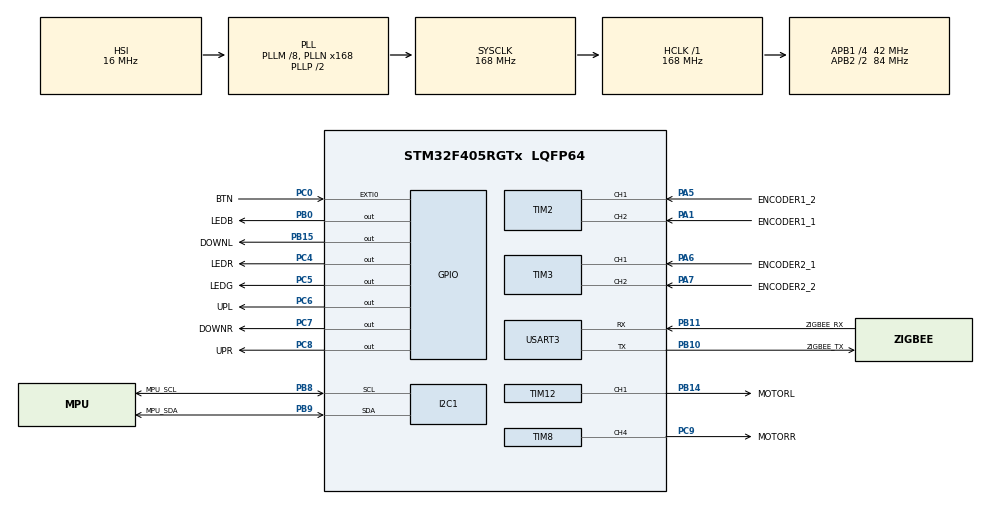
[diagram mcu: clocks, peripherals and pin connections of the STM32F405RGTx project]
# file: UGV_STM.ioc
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I2C1.I2C_Mode=I2C_Standard
Mcu.Family=STM32F4
Mcu.Name=STM32F405RGTx
Mcu.Package=LQFP64
NVIC.EXTI0_IRQn=true\:0\:0\:false\:false\:true\:true\:true
NVIC.PriorityGroup=NVIC_PRIORITYGROUP_4
NVIC.TIM6_DAC_IRQn=true\:0\:0\:false\:false\:true\:true\:true
NVIC.TIM7_IRQn=true\:0\:0\:false\:false\:true\:true\:true
NVIC.USART3_IRQn=true\:0\:0\:false\:false\:true\:true\:true
PA1.GPIO_Label=ENCODER1_1
PA1.GPIO_PuPd=GPIO_PULLUP
PA1.Signal=S_TIM2_CH2
PA13.Mode=Serial_Wire
PA13.Signal=SYS_JTMS-SWDIO
PA14.Mode=Serial_Wire
PA14.Signal=SYS_JTCK-SWCLK
PA5.GPIO_Label=ENCODER1_2
PA5.GPIO_PuPd=GPIO_PULLUP
PA5.Signal=S_TIM2_CH1_ETR
PA6.GPIO_Label=ENCODER2_1
PA6.GPIO_PuPd=GPIO_PULLUP
PA6.Signal=S_TIM3_CH1
PA7.GPIO_Label=ENCODER2_2
PA7.GPIO_PuPd=GPIO_PULLUP
PA7.Signal=S_TIM3_CH2
PB0.GPIO_Label=LEDB
PB0.Signal=GPIO_Output
PB10.GPIO_Label=ZIGBEE_TX
PB10.Mode=Asynchronous
PB10.Signal=USART3_TX
PB11.GPIO_Label=ZIGBEE_RX
PB11.Mode=Asynchronous
PB11.Signal=USART3_RX
PB14.GPIO_Label=MOTORL
PB14.Signal=S_TIM12_CH1
PB15.GPIO_Label=DOWNL
PB15.Signal=GPIO_Output
PB8.GPIO_Label=MPU_SCL
PB8.Mode=I2C
PB8.Signal=I2C1_SCL
PB9.GPIO_Label=MPU_SDA
PB9.Mode=I2C
PB9.Signal=I2C1_SDA
PC0.GPIO_Label=BTN
PC0.GPIO_ModeDefaultEXTI=GPIO_MODE_IT_FALLING
PC0.GPIO_PuPd=GPIO_PULLUP
PC0.Signal=GPXTI0
PC4.GPIO_Label=LEDR
PC4.Signal=GPIO_Output
PC5.GPIO_Label=LEDG
PC5.Signal=GPIO_Output
PC6.GPIO_Label=UPL
PC6.Signal=GPIO_Output
PC7.GPIO_Label=DOWNR
PC7.Signal=GPIO_Output
PC8.GPIO_Label=UPR
PC8.Signal=GPIO_Output
PC9.GPIO_Label=MOTORR
PC9.Signal=S_TIM8_CH4
PH0-OSC_IN.Mode=HSE-External-Oscillator
PH0-OSC_IN.Signal=RCC_OSC_IN
PH1-OSC_OUT.Mode=HSE-External-Oscillator
PH1-OSC_OUT.Signal=RCC_OSC_OUT
ProjectManager.HeapSize=0x200
ProjectManager.StackSize=0x400
ProjectManager.TargetToolchain=STM32CubeIDE
RCC.48MHZClocksFreq_Value=84000000
RCC.AHBFreq_Value=168000000
RCC.APB1CLKDivider=RCC_HCLK_DIV4
RCC.APB1Freq_Value=42000000
RCC.APB1TimFreq_Value=84000000
RCC.APB2CLKDivider=RCC_HCLK_DIV2
RCC.APB2Freq_Value=84000000
RCC.APB2TimFreq_Value=168000000
RCC.CortexFreq_Value=168000000
RCC.HCLKFreq_Value=168000000
RCC.HSE_VALUE=25000000
RCC.HSI_VALUE=16000000
RCC.LSE_VALUE=32768
RCC.PLLM=8
RCC.PLLN=168
RCC.SYSCLKFreq_VALUE=168000000
RCC.SYSCLKSource=RCC_SYSCLKSOURCE_PLLCLK
RCC.VCOOutputFreq_Value=336000000
SH.S_TIM12_CH1.0=TIM12_CH1,PWM Generation1 CH1
SH.S_TIM2_CH1_ETR.0=TIM2_CH1,Encoder_Interface
SH.S_TIM2_CH2.0=TIM2_CH2,Encoder_Interface
SH.S_TIM3_CH1.0=TIM3_CH1,Encoder_Interface
SH.S_TIM3_CH2.0=TIM3_CH2,Encoder_Interface
SH.S_TIM8_CH4.0=TIM8_CH4,PWM Generation4 CH4
TIM12.Channel-PWM\ Generation1\ CH1=TIM_CHANNEL_1
TIM12.Period=3359
TIM6.Period=399
TIM6.Prescaler=41999
TIM7.Period=199
TIM7.Prescaler=4199
TIM8.AutoReloadPreload=TIM_AUTORELOAD_PRELOAD_DISABLE
TIM8.Channel-PWM\ Generation4\ CH4=TIM_CHANNEL_4
TIM8.Period=3359
USART3.VirtualMode=VM_ASYNC
VP_TIM6_VS_ClockSourceINT.Mode=Enable_Timer
VP_TIM7_VS_ClockSourceINT.Mode=Enable_Timer
board=custom

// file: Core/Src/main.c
/* USER CODE BEGIN Header */
/**
  ******************************************************************************
  * @file           : main.c
  * @brief          : Main program body
  ******************************************************************************
  * @attention
  *
  * <h2><center>&copy; Copyright (c) 2020 STMicroelectronics.
  * All rights reserved.</center></h2>
  *
  * This software component is licensed by ST under BSD 3-Clause license,
  * the "License"; You may not use this file except in compliance with the
  * License. You may obtain a copy of the License at:
  *                        opensource.org/licenses/BSD-3-Clause
  *
  ******************************************************************************
  */
/* USER CODE END Header */
#include "main.h"

/* USER CODE BEGIN PD */
#define maxblock 3
/* USER CODE END PD */

I2C_HandleTypeDef hi2c1;

TIM_HandleTypeDef htim2;
TIM_HandleTypeDef htim3;
TIM_HandleTypeDef htim6;
TIM_HandleTypeDef htim7;
TIM_HandleTypeDef htim8;
TIM_HandleTypeDef htim12;

UART_HandleTypeDef huart3;

/* USER CODE BEGIN PV */
char UARTgetchar[1],UARTbuffer[20];
uint8_t newblockdata=0;
uint32_t globaldata=0;

uint16_t RightEncoder=0;
uint16_t LeftEncoder=0;

float KP[3]={0,0,0},KI[3]={0,0,0},KD[3]={0,0,0},T=0.01;
float Out[3]={0,0,0},Out_old[3]={0,0,0};
float pid_error_old[3]={0,0,0},pid_error_old_old[3]={0,0,0};

int16_t AccData[3], GyroData[3], MagData[3];

enum state
{
	getPID = 0,
	RUN,
	HALT
};

uint8_t controlstate=HALT;
/* USER CODE END PV */

void SystemClock_Config(void);
static void MX_GPIO_Init(void);
static void MX_TIM2_Init(void);
static void MX_TIM3_Init(void);
static void MX_TIM8_Init(void);
static void MX_USART3_UART_Init(void);
static void MX_I2C1_Init(void);
static void MX_TIM7_Init(void);
static void MX_TIM12_Init(void);
static void MX_TIM6_Init(void);

/* USER CODE BEGIN 0 */
int GETVAL(void){
	 return SysTick->VAL;
}

void HAL_UART_RxCpltCallback(UART_HandleTypeDef *huart)
{
	if(huart->Instance==USART3)
	{
		if(newblockdata==0)
			getdata();
		HAL_UART_Receive_IT(&huart3, UARTgetchar, 1);
	}
}

void sys_init()
{
	htim8.Instance->CCR1=0;
	htim8.Instance->CCR4=0;
	HAL_GPIO_WritePin(UPR_GPIO_Port, UPR_Pin, RESET);
	HAL_GPIO_WritePin(UPL_GPIO_Port, UPL_Pin, RESET);
	HAL_GPIO_WritePin(DOWNL_GPIO_Port, DOWNL_Pin, RESET);
	HAL_GPIO_WritePin(DOWNR_GPIO_Port, DOWNR_Pin, RESET);
}

void MotorControlSpeed(uint16_t SpeedMotorLeft,uint16_t SpeedMotorRight,uint8_t direct)
{
	globaldata=direct;
	switch (direct) {
		case 0:
			HAL_GPIO_WritePin(UPR_GPIO_Port, UPR_Pin, SET);
			HAL_GPIO_WritePin(UPL_GPIO_Port, UPL_Pin, SET);
			HAL_GPIO_WritePin(DOWNL_GPIO_Port, DOWNL_Pin, RESET);
			HAL_GPIO_WritePin(DOWNR_GPIO_Port, DOWNR_Pin, RESET);
			break;
		case 1:
			HAL_GPIO_WritePin(UPR_GPIO_Port, UPR_Pin, RESET);
			HAL_GPIO_WritePin(UPL_GPIO_Port, UPL_Pin, SET);
			HAL_GPIO_WritePin(DOWNL_GPIO_Port, DOWNL_Pin, RESET);
			HAL_GPIO_WritePin(DOWNR_GPIO_Port, DOWNR_Pin, SET);
			break;
		case 2:
			HAL_GPIO_WritePin(UPR_GPIO_Port, UPR_Pin, SET);
			HAL_GPIO_WritePin(UPL_GPIO_Port, UPL_Pin, RESET);
			HAL_GPIO_WritePin(DOWNL_GPIO_Port, DOWNL_Pin, SET);
			HAL_GPIO_WritePin(DOWNR_GPIO_Port, DOWNR_Pin, RESET);
			break;
		case 3:
			HAL_GPIO_WritePin(UPR_GPIO_Port, UPR_Pin, RESET);
			HAL_GPIO_WritePin(UPL_GPIO_Port, UPL_Pin, RESET);
			HAL_GPIO_WritePin(DOWNL_GPIO_Port, DOWNL_Pin, SET);
			HAL_GPIO_WritePin(DOWNR_GPIO_Port, DOWNR_Pin, SET);
			break;
		default:
			break;
	}
	SpeedMotorLeft*=30;
	SpeedMotorRight*=30;
	htim12.Instance->CCR1=SpeedMotorLeft;
	htim8.Instance->CCR4=SpeedMotorRight;
}

void HAL_TIM_PeriodElapsedCallback(TIM_HandleTypeDef *htim)
{
	if(htim->Instance==TIM7)
	{
		RightEncoder=(TIM2->CNT)>>2;
		LeftEncoder=(TIM3->CNT)>>2;
	}
	else if(htim->Instance==TIM6)
	{
		HAL_GPIO_TogglePin(LEDR_GPIO_Port, LEDR_Pin);
	}
}

void Write_Flash(uint32_t FlashAddress,uint8_t data)
{
     HAL_FLASH_Unlock();
     __HAL_FLASH_CLEAR_FLAG(FLASH_FLAG_EOP | FLASH_FLAG_OPERR | FLASH_FLAG_WRPERR | FLASH_FLAG_PGAERR | FLASH_FLAG_PGSERR );
     FLASH_Erase_Sector(FLASH_SECTOR_11, VOLTAGE_RANGE_3);
     HAL_FLASH_Program(TYPEPROGRAM_WORD, FlashAddress, data);
     HAL_FLASH_Lock();
}

uint32_t Read_Flash(uint32_t FlashAddress)
{
	uint32_t Flash_data;
	Flash_data=*(uint32_t*)FlashAddress;
	return Flash_data;
}

void PIDmanual(uint8_t modePID,float pid_error)
{
	float P_part,I_part,D_part;
	P_part=KP[modePID] * (pid_error - pid_error_old[modePID]);
	I_part=0.5 * KI[modePID] * T * (pid_error + pid_error_old[modePID]);
	D_part = KD[modePID]/T *(pid_error - 2*pid_error_old[modePID] + pid_error_old_old[modePID]);
	Out[modePID] = Out_old[modePID] + P_part + I_part + D_part;
	Out_old[modePID] = Out[modePID];
	pid_error_old[modePID] = pid_error;
	pid_error_old_old[modePID] = pid_error_old[modePID];
}

void cacheall()
{

}
/* USER CODE END 0 */

int main(void)
{

  /* MCU Configuration--------------------------------------------------------*/

  /* Reset of all peripherals, Initializes the Flash interface and the Systick. */
  HAL_Init();

  /* Configure the system clock */
  SystemClock_Config();

  /* Initialize all configured peripherals */
  MX_GPIO_Init();
  MX_TIM2_Init();
  MX_TIM3_Init();
  MX_TIM8_Init();
  MX_USART3_UART_Init();
  MX_I2C1_Init();
  MX_TIM7_Init();
  MX_TIM12_Init();
  MX_TIM6_Init();
  /* USER CODE BEGIN 2 */
  HAL_TIM_PWM_Start(&htim12, TIM_CHANNEL_1);
  HAL_TIM_PWM_Start(&htim8, TIM_CHANNEL_4);
  HAL_TIM_Base_Start_IT(&htim6);
  HAL_TIM_Base_Start_IT(&htim7);
  HAL_TIM_Encoder_Start(&htim2, TIM_CHANNEL_ALL);
  HAL_TIM_Encoder_Start(&htim3, TIM_CHANNEL_ALL);
  HAL_UART_Receive_IT(&huart3, UARTgetchar, 1);
  /* USER CODE END 2 */

  /* Infinite loop */
  /* USER CODE BEGIN WHILE */
  while (1)
  {
	  if(newblockdata==1)
	  {
		  char SpeedLeftChar[4],SpeedRightChar[4],directChar[1];
		  uint8_t SpeedLeft,SpeedRight,direct;
		  HAL_GPIO_TogglePin(LEDR_GPIO_Port, LEDR_Pin);
		  for (int var = 0; var < maxblock; var++)
		  {
			  SpeedLeftChar[var]=UARTbuffer[var];
			  SpeedRightChar[var]=UARTbuffer[var + maxblock];
		  }
          directChar[0]=UARTbuffer[strlen(UARTbuffer)-1];
		  SpeedLeft=atoi(SpeedLeftChar);
		  SpeedRight=atoi(SpeedRightChar);
		  direct=atoi(directChar);
		  MotorControlSpeed(SpeedLeft, SpeedRight,direct);
		  newblockdata=0;
	  }
    /* USER CODE END WHILE */

  }
}

void SystemClock_Config(void)
{
  RCC_OscInitTypeDef RCC_OscInitStruct = {0};
  RCC_ClkInitTypeDef RCC_ClkInitStruct = {0};

  /** Configure the main internal regulator output voltage
  */
  __HAL_RCC_PWR_CLK_ENABLE();
  __HAL_PWR_VOLTAGESCALING_CONFIG(PWR_REGULATOR_VOLTAGE_SCALE1);
  /** Initializes the RCC Oscillators according to the specified parameters
  * in the RCC_OscInitTypeDef structure.
  */
  RCC_OscInitStruct.OscillatorType = RCC_OSCILLATORTYPE_HSI;
  RCC_OscInitStruct.HSIState = RCC_HSI_ON;
  RCC_OscInitStruct.HSICalibrationValue = RCC_HSICALIBRATION_DEFAULT;
  RCC_OscInitStruct.PLL.PLLState = RCC_PLL_ON;
  RCC_OscInitStruct.PLL.PLLSource = RCC_PLLSOURCE_HSI;
  RCC_OscInitStruct.PLL.PLLM = 8;
  RCC_OscInitStruct.PLL.PLLN = 168;
  RCC_OscInitStruct.PLL.PLLP = RCC_PLLP_DIV2;
  RCC_OscInitStruct.PLL.PLLQ = 4;
  if (HAL_RCC_OscConfig(&RCC_OscInitStruct) != HAL_OK)
  {
    Error_Handler();
  }
  /** Initializes the CPU, AHB and APB buses clocks
  */
  RCC_ClkInitStruct.ClockType = RCC_CLOCKTYPE_HCLK|RCC_CLOCKTYPE_SYSCLK
                              |RCC_CLOCKTYPE_PCLK1|RCC_CLOCKTYPE_PCLK2;
  RCC_ClkInitStruct.SYSCLKSource = RCC_SYSCLKSOURCE_PLLCLK;
  RCC_ClkInitStruct.AHBCLKDivider = RCC_SYSCLK_DIV1;
  RCC_ClkInitStruct.APB1CLKDivider = RCC_HCLK_DIV4;
  RCC_ClkInitStruct.APB2CLKDivider = RCC_HCLK_DIV2;

  if (HAL_RCC_ClockConfig(&RCC_ClkInitStruct, FLASH_LATENCY_5) != HAL_OK)
  {
    Error_Handler();
  }
}

static void MX_I2C1_Init(void)
{

  hi2c1.Instance = I2C1;
  hi2c1.Init.ClockSpeed = 100000;
  hi2c1.Init.DutyCycle = I2C_DUTYCYCLE_2;
  hi2c1.Init.OwnAddress1 = 0;
  hi2c1.Init.AddressingMode = I2C_ADDRESSINGMODE_7BIT;
  hi2c1.Init.DualAddressMode = I2C_DUALADDRESS_DISABLE;
  hi2c1.Init.OwnAddress2 = 0;
  hi2c1.Init.GeneralCallMode = I2C_GENERALCALL_DISABLE;
  hi2c1.Init.NoStretchMode = I2C_NOSTRETCH_DISABLE;
  if (HAL_I2C_Init(&hi2c1) != HAL_OK)
  {
    Error_Handler();
  }

}

static void MX_TIM2_Init(void)
{

  TIM_Encoder_InitTypeDef sConfig = {0};
  TIM_MasterConfigTypeDef sMasterConfig = {0};

  htim2.Instance = TIM2;
  htim2.Init.Prescaler = 0;
  htim2.Init.CounterMode = TIM_COUNTERMODE_UP;
  htim2.Init.Period = 4294967295;
  htim2.Init.ClockDivision = TIM_CLOCKDIVISION_DIV1;
  htim2.Init.AutoReloadPreload = TIM_AUTORELOAD_PRELOAD_DISABLE;
  sConfig.EncoderMode = TIM_ENCODERMODE_TI1;
  sConfig.IC1Polarity = TIM_ICPOLARITY_RISING;
  sConfig.IC1Selection = TIM_ICSELECTION_DIRECTTI;
  sConfig.IC1Prescaler = TIM_ICPSC_DIV1;
  sConfig.IC1Filter = 0;
  sConfig.IC2Polarity = TIM_ICPOLARITY_RISING;
  sConfig.IC2Selection = TIM_ICSELECTION_DIRECTTI;
  sConfig.IC2Prescaler = TIM_ICPSC_DIV1;
  sConfig.IC2Filter = 0;
  if (HAL_TIM_Encoder_Init(&htim2, &sConfig) != HAL_OK)
  {
    Error_Handler();
  }
  sMasterConfig.MasterOutputTrigger = TIM_TRGO_RESET;
  sMasterConfig.MasterSlaveMode = TIM_MASTERSLAVEMODE_DISABLE;
  if (HAL_TIMEx_MasterConfigSynchronization(&htim2, &sMasterConfig) != HAL_OK)
  {
    Error_Handler();
  }

}

static void MX_TIM3_Init(void)
{

  TIM_Encoder_InitTypeDef sConfig = {0};
  TIM_MasterConfigTypeDef sMasterConfig = {0};

  htim3.Instance = TIM3;
  htim3.Init.Prescaler = 0;
  htim3.Init.CounterMode = TIM_COUNTERMODE_UP;
  htim3.Init.Period = 65535;
  htim3.Init.ClockDivision = TIM_CLOCKDIVISION_DIV1;
  htim3.Init.AutoReloadPreload = TIM_AUTORELOAD_PRELOAD_DISABLE;
  sConfig.EncoderMode = TIM_ENCODERMODE_TI1;
  sConfig.IC1Polarity = TIM_ICPOLARITY_RISING;
  sConfig.IC1Selection = TIM_ICSELECTION_DIRECTTI;
  sConfig.IC1Prescaler = TIM_ICPSC_DIV1;
  sConfig.IC1Filter = 0;
  sConfig.IC2Polarity = TIM_ICPOLARITY_RISING;
  sConfig.IC2Selection = TIM_ICSELECTION_DIRECTTI;
  sConfig.IC2Prescaler = TIM_ICPSC_DIV1;
  sConfig.IC2Filter = 0;
  if (HAL_TIM_Encoder_Init(&htim3, &sConfig) != HAL_OK)
  {
    Error_Handler();
  }
  sMasterConfig.MasterOutputTrigger = TIM_TRGO_RESET;
  sMasterConfig.MasterSlaveMode = TIM_MASTERSLAVEMODE_DISABLE;
  if (HAL_TIMEx_MasterConfigSynchronization(&htim3, &sMasterConfig) != HAL_OK)
  {
    Error_Handler();
  }

}

static void MX_TIM6_Init(void)
{

  TIM_MasterConfigTypeDef sMasterConfig = {0};

  htim6.Instance = TIM6;
  htim6.Init.Prescaler = 41999;
  htim6.Init.CounterMode = TIM_COUNTERMODE_UP;
  htim6.Init.Period = 799;
  htim6.Init.AutoReloadPreload = TIM_AUTORELOAD_PRELOAD_DISABLE;
  if (HAL_TIM_Base_Init(&htim6) != HAL_OK)
  {
    Error_Handler();
  }
  sMasterConfig.MasterOutputTrigger = TIM_TRGO_RESET;
  sMasterConfig.MasterSlaveMode = TIM_MASTERSLAVEMODE_DISABLE;
  if (HAL_TIMEx_MasterConfigSynchronization(&htim6, &sMasterConfig) != HAL_OK)
  {
    Error_Handler();
  }

}

static void MX_TIM7_Init(void)
{

  TIM_MasterConfigTypeDef sMasterConfig = {0};

  htim7.Instance = TIM7;
  htim7.Init.Prescaler = 4199;
  htim7.Init.CounterMode = TIM_COUNTERMODE_UP;
  htim7.Init.Period = 199;
  htim7.Init.AutoReloadPreload = TIM_AUTORELOAD_PRELOAD_DISABLE;
  if (HAL_TIM_Base_Init(&htim7) != HAL_OK)
  {
    Error_Handler();
  }
  sMasterConfig.MasterOutputTrigger = TIM_TRGO_RESET;
  sMasterConfig.MasterSlaveMode = TIM_MASTERSLAVEMODE_DISABLE;
  if (HAL_TIMEx_MasterConfigSynchronization(&htim7, &sMasterConfig) != HAL_OK)
  {
    Error_Handler();
  }

}

static void MX_TIM8_Init(void)
{

  TIM_MasterConfigTypeDef sMasterConfig = {0};
  TIM_OC_InitTypeDef sConfigOC = {0};
  TIM_BreakDeadTimeConfigTypeDef sBreakDeadTimeConfig = {0};

  htim8.Instance = TIM8;
  htim8.Init.Prescaler = 0;
  htim8.Init.CounterMode = TIM_COUNTERMODE_UP;
  htim8.Init.Period = 3359;
  htim8.Init.ClockDivision = TIM_CLOCKDIVISION_DIV1;
  htim8.Init.RepetitionCounter = 0;
  htim8.Init.AutoReloadPreload = TIM_AUTORELOAD_PRELOAD_DISABLE;
  if (HAL_TIM_PWM_Init(&htim8) != HAL_OK)
  {
    Error_Handler();
  }
  sMasterConfig.MasterOutputTrigger = TIM_TRGO_RESET;
  sMasterConfig.MasterSlaveMode = TIM_MASTERSLAVEMODE_DISABLE;
  if (HAL_TIMEx_MasterConfigSynchronization(&htim8, &sMasterConfig) != HAL_OK)
  {
    Error_Handler();
  }
  sConfigOC.OCMode = TIM_OCMODE_PWM1;
  sConfigOC.Pulse = 0;
  sConfigOC.OCPolarity = TIM_OCPOLARITY_HIGH;
  sConfigOC.OCFastMode = TIM_OCFAST_DISABLE;
  sConfigOC.OCIdleState = TIM_OCIDLESTATE_RESET;
  sConfigOC.OCNIdleState = TIM_OCNIDLESTATE_RESET;
  if (HAL_TIM_PWM_ConfigChannel(&htim8, &sConfigOC, TIM_CHANNEL_4) != HAL_OK)
  {
    Error_Handler();
  }
  sBreakDeadTimeConfig.OffStateRunMode = TIM_OSSR_DISABLE;
  sBreakDeadTimeConfig.OffStateIDLEMode = TIM_OSSI_DISABLE;
  sBreakDeadTimeConfig.LockLevel = TIM_LOCKLEVEL_OFF;
  sBreakDeadTimeConfig.DeadTime = 0;
  sBreakDeadTimeConfig.BreakState = TIM_BREAK_DISABLE;
  sBreakDeadTimeConfig.BreakPolarity = TIM_BREAKPOLARITY_HIGH;
  sBreakDeadTimeConfig.AutomaticOutput = TIM_AUTOMATICOUTPUT_DISABLE;
  if (HAL_TIMEx_ConfigBreakDeadTime(&htim8, &sBreakDeadTimeConfig) != HAL_OK)
  {
    Error_Handler();
  }
  HAL_TIM_MspPostInit(&htim8);

}

static void MX_TIM12_Init(void)
{

  TIM_OC_InitTypeDef sConfigOC = {0};

  htim12.Instance = TIM12;
  htim12.Init.Prescaler = 0;
  htim12.Init.CounterMode = TIM_COUNTERMODE_UP;
  htim12.Init.Period = 3359;
  htim12.Init.ClockDivision = TIM_CLOCKDIVISION_DIV1;
  htim12.Init.AutoReloadPreload = TIM_AUTORELOAD_PRELOAD_DISABLE;
  if (HAL_TIM_PWM_Init(&htim12) != HAL_OK)
  {
    Error_Handler();
  }
  sConfigOC.OCMode = TIM_OCMODE_PWM1;
  sConfigOC.Pulse = 0;
  sConfigOC.OCPolarity = TIM_OCPOLARITY_HIGH;
  sConfigOC.OCFastMode = TIM_OCFAST_DISABLE;
  if (HAL_TIM_PWM_ConfigChannel(&htim12, &sConfigOC, TIM_CHANNEL_1) != HAL_OK)
  {
    Error_Handler();
  }
  HAL_TIM_MspPostInit(&htim12);

}

static void MX_USART3_UART_Init(void)
{

  huart3.Instance = USART3;
  huart3.Init.BaudRate = 115200;
  huart3.Init.WordLength = UART_WORDLENGTH_8B;
  huart3.Init.StopBits = UART_STOPBITS_1;
  huart3.Init.Parity = UART_PARITY_NONE;
  huart3.Init.Mode = UART_MODE_TX_RX;
  huart3.Init.HwFlowCtl = UART_HWCONTROL_NONE;
  huart3.Init.OverSampling = UART_OVERSAMPLING_16;
  if (HAL_UART_Init(&huart3) != HAL_OK)
  {
    Error_Handler();
  }

}

static void MX_GPIO_Init(void)
{
  GPIO_InitTypeDef GPIO_InitStruct = {0};

  /* GPIO Ports Clock Enable */
  __HAL_RCC_GPIOH_CLK_ENABLE();
  __HAL_RCC_GPIOC_CLK_ENABLE();
  __HAL_RCC_GPIOA_CLK_ENABLE();
  __HAL_RCC_GPIOB_CLK_ENABLE();

  /*Configure GPIO pin Output Level */
  HAL_GPIO_WritePin(GPIOC, LEDR_Pin|LEDG_Pin|UPL_Pin|DOWNR_Pin
                          |UPR_Pin, GPIO_PIN_RESET);

  /*Configure GPIO pin Output Level */
  HAL_GPIO_WritePin(GPIOB, LEDB_Pin|DOWNL_Pin, GPIO_PIN_RESET);

  /*Configure GPIO pin : BTN_Pin */
  GPIO_InitStruct.Pin = BTN_Pin;
  GPIO_InitStruct.Mode = GPIO_MODE_IT_FALLING;
  GPIO_InitStruct.Pull = GPIO_PULLUP;
  HAL_GPIO_Init(BTN_GPIO_Port, &GPIO_InitStruct);

  /*Configure GPIO pins : LEDR_Pin LEDG_Pin UPL_Pin DOWNR_Pin
                           UPR_Pin */
  GPIO_InitStruct.Pin = LEDR_Pin|LEDG_Pin|UPL_Pin|DOWNR_Pin
                          |UPR_Pin;
  GPIO_InitStruct.Mode = GPIO_MODE_OUTPUT_PP;
  GPIO_InitStruct.Pull = GPIO_NOPULL;
  GPIO_InitStruct.Speed = GPIO_SPEED_FREQ_LOW;
  HAL_GPIO_Init(GPIOC, &GPIO_InitStruct);

  /*Configure GPIO pins : LEDB_Pin DOWNL_Pin */
  GPIO_InitStruct.Pin = LEDB_Pin|DOWNL_Pin;
  GPIO_InitStruct.Mode = GPIO_MODE_OUTPUT_PP;
  GPIO_InitStruct.Pull = GPIO_NOPULL;
  GPIO_InitStruct.Speed = GPIO_SPEED_FREQ_LOW;
  HAL_GPIO_Init(GPIOB, &GPIO_InitStruct);

  /* EXTI interrupt init*/
  HAL_NVIC_SetPriority(EXTI0_IRQn, 0, 0);
  HAL_NVIC_EnableIRQ(EXTI0_IRQn);

}

void Error_Handler(void)
{
}

/************************ (C) COPYRIGHT STMicroelectronics *****END OF FILE****/
